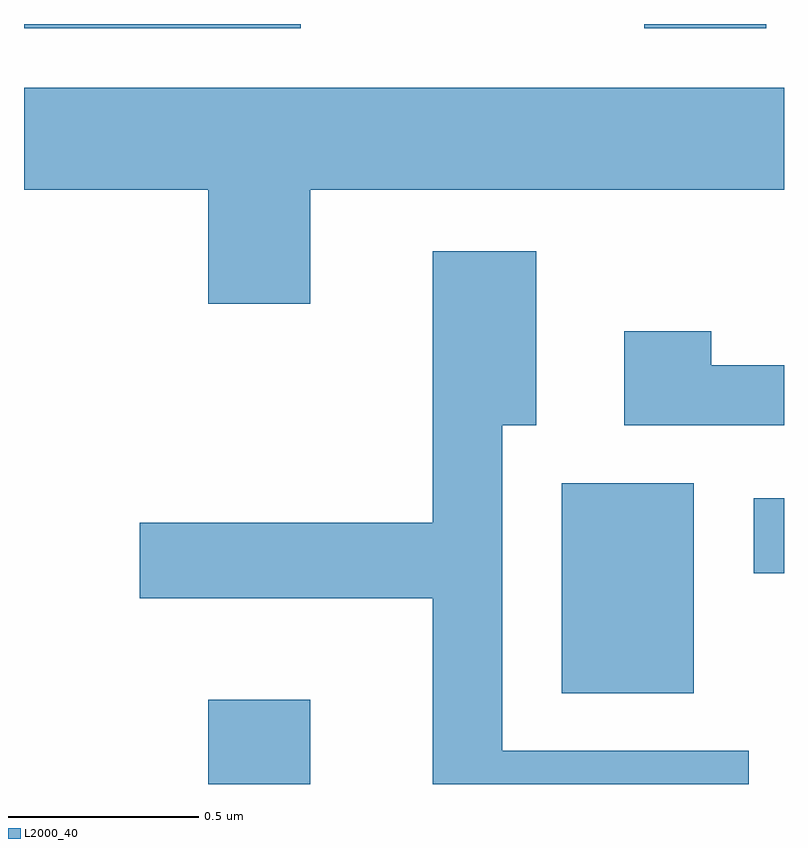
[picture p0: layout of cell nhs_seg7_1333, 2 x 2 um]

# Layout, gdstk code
import gdstk
lib = gdstk.Library(unit=1e-6, precision=1e-09)
def R(c, l, rs):  # rectangles x0, y0, x1, y1
    for r in rs: c.add(gdstk.rectangle(r[:2], r[2:], *l))
def P(c, l, *ps):  # polygons
    for p in ps: c.add(gdstk.Polygon(p, *l))
L2000_40 = (2000, 40)

nhs_seg7_1333 = lib.new_cell('nhs_seg7_1333')
R(nhs_seg7_1333, L2000_40, [(195.096,1768.252,195.364,1768.474), (196.026,1768.491,196.374,1769.044), (196.531,1768.806,196.611,1769.004), (194.611,1770.241,195.339,1770.252), (196.243,1770.241,196.564,1770.252)])
P(nhs_seg7_1333, L2000_40, [(195.364,1769.816),(196.611,1769.816),(196.611,1770.084),(194.611,1770.084),(194.611,1769.816),(195.096,1769.816),(195.096,1769.516),(195.364,1769.516)],
  [(196.518,1768.339),(195.869,1768.339),(195.869,1769.196),(195.959,1769.196),(195.959,1769.654),(195.686,1769.654),(195.686,1768.939),(194.916,1768.939),(194.916,1768.741),(195.686,1768.741),(195.686,1768.252),(196.518,1768.252)],
  [(196.611,1769.354),(196.419,1769.354),(196.419,1769.444),(196.191,1769.444),(196.191,1769.196),(196.611,1769.196)])

lib.write_gds('nhs_seg7_1333.gds')
